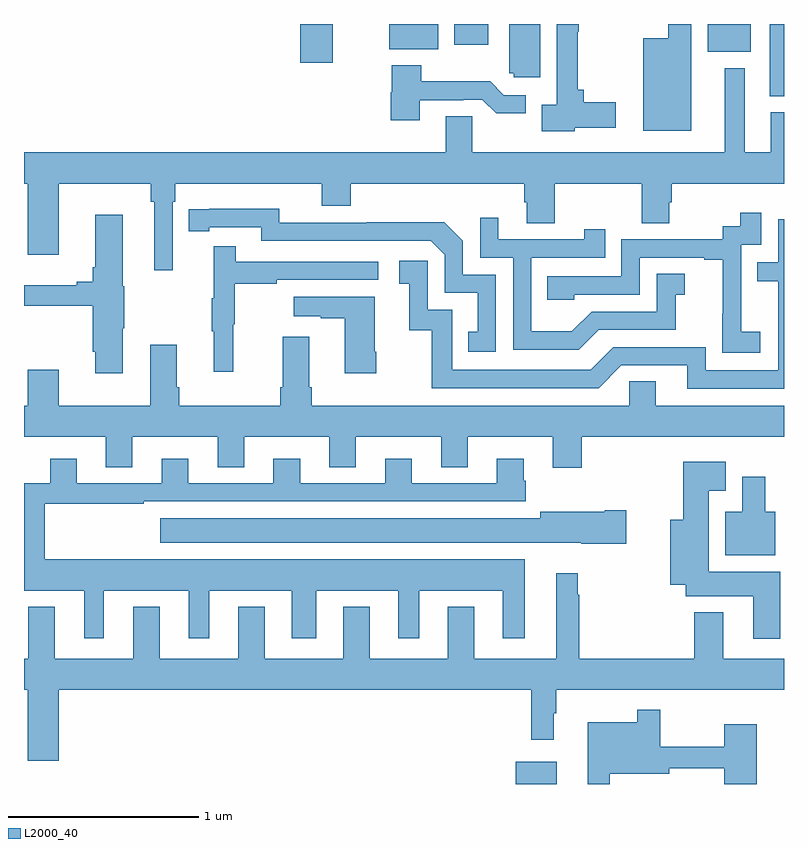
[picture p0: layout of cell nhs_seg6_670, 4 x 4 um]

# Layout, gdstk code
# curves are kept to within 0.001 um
import gdstk
lib = gdstk.Library(unit=1e-6, precision=1e-09)
def R(c, l, rs):  # rectangles x0, y0, x1, y1
    for r in rs: c.add(gdstk.rectangle(r[:2], r[2:], *l))
def P(c, l, *ps):  # polygons
    for p in ps: c.add(gdstk.Polygon(p, *l))
L2000_40 = (2000, 40)

nhs_seg6_670 = lib.new_cell('nhs_seg6_670')
R(nhs_seg6_670, L2000_40, [(155.588,953.5,155.803,953.617), (156.926,957.121,157,957.5), (154.454,957.297,154.624,957.5), (156.599,957.353,156.826,957.5), (154.922,957.368,155.18,957.5), (155.265,957.392,155.443,957.5)])
P(nhs_seg6_670, L2000_40, [(156.511,957.5),(156.39,957.5),(156.39,957.424),(156.26,957.424),(156.26,956.939),(156.511,956.939)],
  [(155.898,956.954),(156.115,956.954),(156.115,957.089),(155.946,957.089),(155.946,957.154),(155.914,957.154),(155.914,957.459),(155.921,957.459),(155.921,957.5),(155.805,957.5),(155.805,957.076),(155.726,957.076),(155.726,956.936),(155.898,956.936)],
  [(155.716,957.5),(155.555,957.5),(155.555,957.24),(155.577,957.24),(155.577,957.219),(155.716,957.219)],
  [(155.083,957.099),(155.312,957.099),(155.312,957.102),(155.412,957.102),(155.485,957.029),(155.641,957.029),(155.641,957.126),(155.526,957.126),(155.453,957.199),(155.091,957.199),(155.091,957.283),(154.936,957.283),(154.936,957.141),(154.931,957.141),(154.931,956.994),(155.083,956.994)],
  [(153.783,956.564),(153.797,956.564),(153.797,956.66),(154.568,956.66),(154.568,956.543),(154.721,956.543),(154.721,956.66),(155.633,956.66),(155.633,956.562),(155.645,956.562),(155.645,956.452),(155.793,956.452),(155.793,956.66),(156.25,956.66),(156.25,956.452),(156.397,956.452),(156.397,956.562),(156.41,956.562),(156.41,956.66),(157,956.66),(157,957.036),(156.929,957.036),(156.929,956.824),(156.793,956.824),(156.793,957.268),(156.689,957.268),(156.689,956.824),(155.358,956.824),(155.358,957.014),(155.219,957.014),(155.219,956.824),(153,956.824),(153,956.66),(153.02,956.66),(153.02,956.286),(153.184,956.286),(153.184,956.66),(153.667,956.66),(153.667,956.564),(153.686,956.564),(153.686,956.205),(153.783,956.205)],
  [(155.484,956.181),(155.31,956.181),(155.31,956.358),(155.212,956.456),(154.804,956.456),(154.804,956.454),(154.344,956.454),(154.344,956.527),(153.868,956.526),(153.868,956.41),(153.976,956.41),(153.976,956.43),(154.248,956.43),(154.248,956.358),(155.142,956.358),(155.214,956.286),(155.214,956.085),(155.387,956.085),(155.387,955.881),(155.338,955.881),(155.338,955.776),(155.484,955.776)],
  [(156.874,955.879),(156.776,955.879),(156.776,956.108),(156.774,956.108),(156.774,956.337),(156.879,956.337),(156.879,956.506),(156.771,956.506),(156.771,956.436),(156.678,956.436),(156.678,956.367),(156.144,956.367),(156.144,956.172),(155.755,956.172),(155.755,956.049),(155.895,956.049),(155.895,956.076),(156.24,956.076),(156.24,956.271),(156.581,956.271),(156.581,956.259),(156.677,956.259),(156.677,955.975),(156.676,955.975),(156.676,955.769),(156.874,955.769)],
  [(153.52,955.9),(153.528,955.9),(153.528,956.121),(153.52,956.121),(153.52,956.497),(153.374,956.497),(153.374,956.221),(153.362,956.221),(153.362,956.144),(153.278,956.144),(153.278,956.125),(153,956.125),(153,956.016),(153.362,956.016),(153.362,955.774),(153.374,955.774),(153.374,955.662),(153.52,955.662)],
  [(156.025,955.89),(156.429,955.89),(156.429,956.075),(156.478,956.075),(156.478,956.185),(156.33,956.185),(156.33,955.986),(155.988,955.986),(155.884,955.882),(155.67,955.882),(155.67,956.271),(156.059,956.271),(156.059,956.419),(155.948,956.419),(155.948,956.367),(155.497,956.367),(155.497,956.479),(155.4,956.479),(155.4,956.271),(155.574,956.271),(155.574,955.785),(155.92,955.785)],
  [(157,956.472),(156.969,956.472),(156.969,956.247),(156.859,956.247),(156.859,956.146),(156.969,956.146),(156.969,955.677),(156.588,955.677),(156.588,955.8),(156.102,955.8),(155.982,955.68),(155.253,955.68),(155.253,955.995),(155.124,955.995),(155.124,956.254),(154.974,956.254),(154.974,956.133),(155.027,956.133),(155.027,955.887),(155.145,955.887),(155.145,955.584),(156.024,955.584),(156.144,955.704),(156.491,955.704),(156.491,955.581),(157,955.581)],
  [(154.1,955.92),(154.108,955.92),(154.108,956.134),(154.331,956.134),(154.331,956.154),(154.864,956.154),(154.864,956.25),(154.115,956.25),(154.115,956.329),(153.998,956.329),(153.998,956.057),(153.987,956.057),(153.987,955.883),(153.998,955.883),(153.998,955.671),(154.1,955.671)],
  [(154.854,955.774),(154.846,955.774),(154.846,956.065),(154.419,956.065),(154.419,955.961),(154.562,955.961),(154.562,955.951),(154.688,955.951),(154.688,955.662),(154.854,955.662)],
  [(155.936,955.328),(157,955.328),(157,955.492),(156.325,955.492),(156.325,955.619),(156.186,955.619),(156.186,955.492),(154.514,955.492),(154.514,955.588),(154.501,955.588),(154.501,955.855),(154.361,955.855),(154.361,955.588),(154.349,955.588),(154.349,955.492),(153.818,955.492),(153.818,955.588),(153.805,955.588),(153.805,955.813),(153.665,955.813),(153.665,955.492),(153.184,955.492),(153.184,955.681),(153.02,955.681),(153.02,955.492),(153,955.492),(153,955.328),(153.431,955.328),(153.431,955.168),(153.571,955.168),(153.571,955.328),(154.019,955.328),(154.019,955.168),(154.159,955.168),(154.159,955.328),(154.607,955.328),(154.607,955.168),(154.747,955.168),(154.747,955.328),(155.195,955.328),(155.195,955.168),(155.335,955.168),(155.335,955.328),(155.783,955.328),(155.783,955.164),(155.936,955.164)],
  [(153.421,954.518),(153.866,954.518),(153.866,954.267),(153.976,954.267),(153.976,954.518),(154.409,954.518),(154.409,954.267),(154.537,954.267),(154.537,954.518),(154.97,954.518),(154.97,954.267),(155.08,954.267),(155.08,954.518),(155.519,954.518),(155.519,954.267),(155.635,954.267),(155.635,954.682),(153.109,954.682),(153.109,954.975),(153.629,954.975),(153.629,954.987),(155.642,954.987),(155.642,955.095),(155.629,955.095),(155.629,955.213),(155.489,955.213),(155.489,955.083),(155.041,955.083),(155.041,955.213),(154.901,955.213),(154.901,955.083),(154.453,955.083),(154.453,955.213),(154.313,955.213),(154.313,955.083),(153.865,955.083),(153.865,955.213),(153.725,955.213),(153.725,955.083),(153.277,955.083),(153.277,955.213),(153.137,955.213),(153.137,955.084),(153,955.084),(153,954.518),(153.317,954.518),(153.317,954.267),(153.421,954.267)],
  [(156.979,954.616),(156.604,954.616),(156.604,955.043),(156.694,955.043),(156.694,955.195),(156.47,955.195),(156.47,954.892),(156.401,954.892),(156.401,954.548),(156.482,954.548),(156.482,954.488),(156.839,954.488),(156.839,954.264),(156.979,954.264)],
  [(156.955,954.934),(156.901,954.934),(156.901,955.117),(156.779,955.117),(156.779,954.934),(156.692,954.934),(156.692,954.704),(156.955,954.704)],
  [(156.169,954.942),(156.056,954.942),(156.056,954.934),(155.717,954.934),(155.717,954.898),(153.717,954.898),(153.717,954.77),(155.934,954.77),(155.934,954.764),(156.169,954.764)],
  [(153.184,953.996),(155.671,953.996),(155.671,953.733),(155.788,953.733),(155.788,953.873),(155.8,953.873),(155.8,953.996),(157,953.996),(157,954.16),(156.679,954.16),(156.679,954.403),(156.527,954.403),(156.527,954.16),(155.923,954.16),(155.923,954.497),(155.915,954.497),(155.915,954.61),(155.801,954.61),(155.801,954.16),(155.371,954.16),(155.371,954.433),(155.231,954.433),(155.231,954.16),(154.819,954.16),(154.819,954.433),(154.679,954.433),(154.679,954.16),(154.267,954.16),(154.267,954.433),(154.127,954.433),(154.127,954.16),(153.715,954.16),(153.715,954.433),(153.575,954.433),(153.575,954.16),(153.163,954.16),(153.163,954.433),(153.023,954.433),(153.023,954.16),(153,954.16),(153,953.996),(153.02,953.996),(153.02,953.622),(153.184,953.622)],
  [(156.083,953.555),(156.396,953.555),(156.396,953.584),(156.686,953.584),(156.686,953.5),(156.857,953.5),(156.857,953.815),(156.686,953.815),(156.686,953.695),(156.349,953.695),(156.349,953.89),(156.228,953.89),(156.228,953.824),(155.966,953.824),(155.966,953.5),(156.083,953.5)])

lib.write_gds('nhs_seg6_670.gds')
